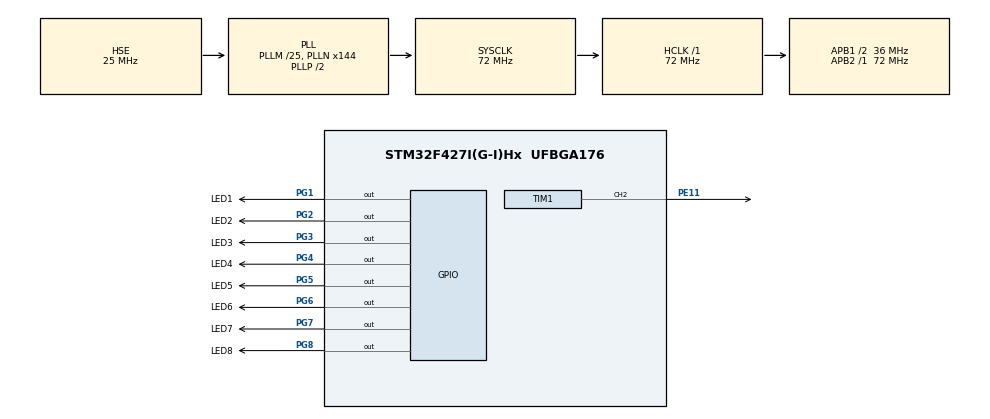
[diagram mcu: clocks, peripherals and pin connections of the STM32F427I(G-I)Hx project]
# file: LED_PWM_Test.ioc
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Mcu.Family=STM32F4
Mcu.Name=STM32F427I(G-I)Hx
Mcu.Package=UFBGA176
NVIC.PriorityGroup=NVIC_PRIORITYGROUP_4
PA13.Mode=Serial_Wire
PA13.Signal=SYS_JTMS-SWDIO
PA14.Mode=Serial_Wire
PA14.Signal=SYS_JTCK-SWCLK
PE11.Signal=S_TIM1_CH2
PG1.GPIO_Label=LED1
PG1.Signal=GPIO_Output
PG2.GPIO_Label=LED2
PG2.Signal=GPIO_Output
PG3.GPIO_Label=LED3
PG3.Signal=GPIO_Output
PG4.GPIO_Label=LED4
PG4.Signal=GPIO_Output
PG5.GPIO_Label=LED5
PG5.Signal=GPIO_Output
PG6.GPIO_Label=LED6
PG6.Signal=GPIO_Output
PG7.GPIO_Label=LED7
PG7.Signal=GPIO_Output
PG8.GPIO_Label=LED8
PG8.Signal=GPIO_Output
PH0/OSC_IN.Mode=HSE-External-Oscillator
PH0/OSC_IN.Signal=RCC_OSC_IN
PH1/OSC_OUT.Mode=HSE-External-Oscillator
PH1/OSC_OUT.Signal=RCC_OSC_OUT
ProjectManager.HeapSize=0x200
ProjectManager.StackSize=0x400
ProjectManager.TargetToolchain=MDK-ARM V5
RCC.48MHZClocksFreq_Value=36000000
RCC.AHBFreq_Value=72000000
RCC.APB1CLKDivider=RCC_HCLK_DIV2
RCC.APB1Freq_Value=36000000
RCC.APB1TimFreq_Value=72000000
RCC.APB2Freq_Value=72000000
RCC.APB2TimFreq_Value=72000000
RCC.CortexFreq_Value=72000000
RCC.HCLKFreq_Value=72000000
RCC.HSE_VALUE=25000000
RCC.HSI_VALUE=16000000
RCC.LSE_VALUE=32768
RCC.PLLM=25
RCC.PLLN=144
RCC.PLLSourceVirtual=RCC_PLLSOURCE_HSE
RCC.SYSCLKFreq_VALUE=72000000
RCC.SYSCLKSource=RCC_SYSCLKSOURCE_PLLCLK
RCC.VCOOutputFreq_Value=144000000
SH.S_TIM1_CH2.0=TIM1_CH2,PWM Generation2 CH2
TIM1.Channel-PWM\ Generation2\ CH2=TIM_CHANNEL_2
TIM1.OCPolarity_2=TIM_OCPOLARITY_HIGH
TIM1.Period=2000-1
TIM1.Prescaler=720-1
VP_TIM1_VS_ClockSourceINT.Mode=Internal
board=custom

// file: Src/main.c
/* USER CODE BEGIN Header */
/**
  ******************************************************************************
  * @file           : main.c
  * @brief          : Main program body
  ******************************************************************************
  * @attention
  *
  * <h2><center>&copy; Copyright (c) 2021 STMicroelectronics.
  * All rights reserved.</center></h2>
  *
  * This software component is licensed by ST under BSD 3-Clause license,
  * the "License"; You may not use this file except in compliance with the
  * License. You may obtain a copy of the License at:
  *                        opensource.org/licenses/BSD-3-Clause
  *
  ******************************************************************************
  */
/* USER CODE END Header */
#include "main.h"
#include "tim.h"
#include "gpio.h"

void SystemClock_Config(void);

int main(void)
{

  /* MCU Configuration--------------------------------------------------------*/

  /* Reset of all peripherals, Initializes the Flash interface and the Systick. */
  HAL_Init();

  /* Configure the system clock */
  SystemClock_Config();

  /* Initialize all configured peripherals */
  MX_GPIO_Init();
  MX_TIM1_Init();
  /* USER CODE BEGIN 2 */
	uint16_t LED_Pin_Array[8]={LED1_Pin,LED2_Pin,LED3_Pin,LED4_Pin,LED5_Pin,LED6_Pin,LED7_Pin,LED8_Pin};
	int i1=0;
	int i2=1;
	int i3=2;
	int i=0;
	HAL_TIM_PWM_Start(&htim1, TIM_CHANNEL_2);
	uint16_t pwm_value=0;
	int16_t step=100;
  /* USER CODE END 2 */

  /* Infinite loop */
  while (1)
  {

    /* USER CODE BEGIN 3 */
		for(i=0;i<8;i++){
			if(i==i1||i==i2||i==i3){
				HAL_GPIO_WritePin(LED1_GPIO_Port,LED_Pin_Array[i],GPIO_PIN_RESET);
			}
			else{
				HAL_GPIO_WritePin(LED1_GPIO_Port,LED_Pin_Array[i],GPIO_PIN_SET);
			}
		}
		if(++i1==8)
			i1=0;
		if(++i2==8)
			i2=0;
		if(++i3==8)
			i3=0;
		i=0;
		HAL_Delay(100);
		if(pwm_value == 0) step = 10;
		if(pwm_value == 100) step = -10;
		pwm_value += step;

		TIM1->CCR2 = pwm_value;

  }
  /* USER CODE END 3 */
}

void SystemClock_Config(void)
{
  RCC_OscInitTypeDef RCC_OscInitStruct = {0};
  RCC_ClkInitTypeDef RCC_ClkInitStruct = {0};

  /** Configure the main internal regulator output voltage
  */
  __HAL_RCC_PWR_CLK_ENABLE();
  __HAL_PWR_VOLTAGESCALING_CONFIG(PWR_REGULATOR_VOLTAGE_SCALE3);
  /** Initializes the RCC Oscillators according to the specified parameters
  * in the RCC_OscInitTypeDef structure.
  */
  RCC_OscInitStruct.OscillatorType = RCC_OSCILLATORTYPE_HSE;
  RCC_OscInitStruct.HSEState = RCC_HSE_ON;
  RCC_OscInitStruct.PLL.PLLState = RCC_PLL_ON;
  RCC_OscInitStruct.PLL.PLLSource = RCC_PLLSOURCE_HSE;
  RCC_OscInitStruct.PLL.PLLM = 25;
  RCC_OscInitStruct.PLL.PLLN = 144;
  RCC_OscInitStruct.PLL.PLLP = RCC_PLLP_DIV2;
  RCC_OscInitStruct.PLL.PLLQ = 4;
  if (HAL_RCC_OscConfig(&RCC_OscInitStruct) != HAL_OK)
  {
    Error_Handler();
  }
  /** Initializes the CPU, AHB and APB buses clocks
  */
  RCC_ClkInitStruct.ClockType = RCC_CLOCKTYPE_HCLK|RCC_CLOCKTYPE_SYSCLK
                              |RCC_CLOCKTYPE_PCLK1|RCC_CLOCKTYPE_PCLK2;
  RCC_ClkInitStruct.SYSCLKSource = RCC_SYSCLKSOURCE_PLLCLK;
  RCC_ClkInitStruct.AHBCLKDivider = RCC_SYSCLK_DIV1;
  RCC_ClkInitStruct.APB1CLKDivider = RCC_HCLK_DIV2;
  RCC_ClkInitStruct.APB2CLKDivider = RCC_HCLK_DIV1;

  if (HAL_RCC_ClockConfig(&RCC_ClkInitStruct, FLASH_LATENCY_2) != HAL_OK)
  {
    Error_Handler();
  }
}

void Error_Handler(void)
{
  __disable_irq();
  while (1)
  {
  }
}

/************************ (C) COPYRIGHT STMicroelectronics *****END OF FILE****/
